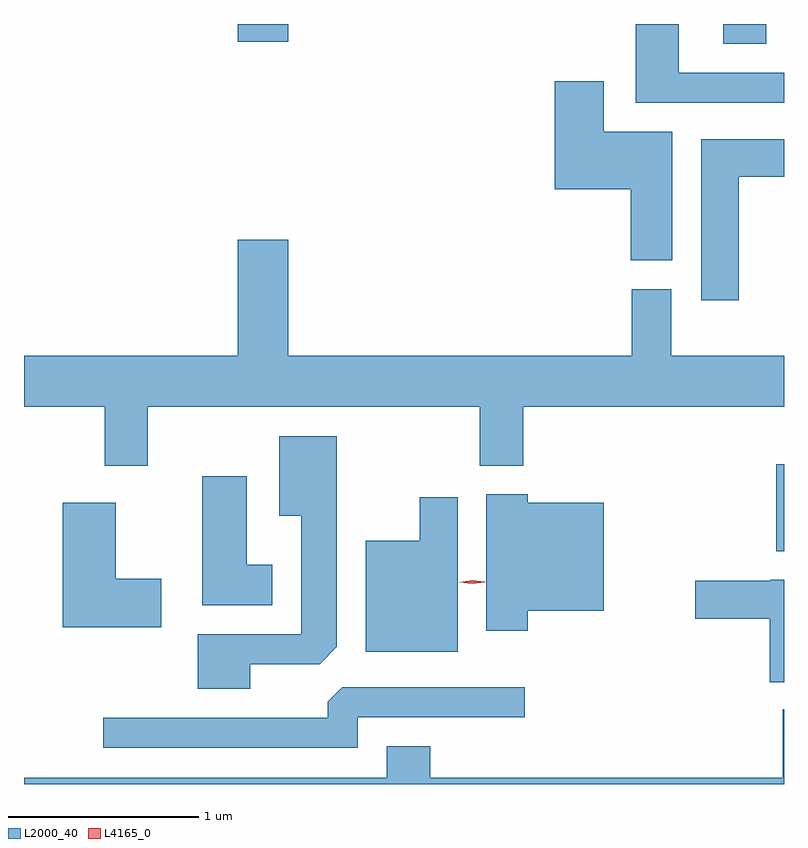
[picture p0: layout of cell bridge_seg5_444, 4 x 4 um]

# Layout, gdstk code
import gdstk
lib = gdstk.Library(unit=1e-6, precision=1e-09)
def R(c, l, rs):  # rectangles x0, y0, x1, y1
    for r in rs: c.add(gdstk.rectangle(r[:2], r[2:], *l))
def P(c, l, *ps):  # polygons
    for p in ps: c.add(gdstk.Polygon(p, *l))
L2000_40 = (2000, 40)
L4165_0 = (4165, 0)

bridge_seg5_444 = lib.new_cell('bridge_seg5_444')
R(bridge_seg5_444, L2000_40, [(517.611,1424.956,517.652,1425.414), (517.331,1427.626,517.559,1427.73), (514.776,1427.636,515.044,1427.73)])
P(bridge_seg5_444, L2000_40, [(517.652,1427.474),(517.099,1427.474),(517.099,1427.73),(516.871,1427.73),(516.871,1427.316),(517.652,1427.316)],
  [(517.064,1427.164),(516.704,1427.164),(516.704,1427.429),(516.446,1427.429),(516.446,1426.861),(516.846,1426.861),(516.846,1426.486),(517.064,1426.486)],
  [(517.414,1426.926),(517.652,1426.926),(517.652,1427.124),(517.216,1427.124),(517.216,1426.276),(517.414,1426.276)],
  [(516.051,1425.406),(516.279,1425.406),(516.279,1425.716),(517.652,1425.716),(517.652,1425.984),(517.059,1425.984),(517.059,1426.334),(516.851,1426.334),(516.851,1425.984),(515.044,1425.984),(515.044,1426.594),(514.776,1426.594),(514.776,1425.984),(513.652,1425.984),(513.652,1425.716),(514.076,1425.716),(514.076,1425.406),(514.304,1425.406),(514.304,1425.716),(516.051,1425.716)],
  [(514.844,1424.361),(515.208,1424.361),(515.299,1424.452),(515.299,1425.559),(514.996,1425.559),(514.996,1425.141),(515.111,1425.141),(515.111,1424.519),(514.566,1424.519),(514.566,1424.231),(514.844,1424.231)],
  [(514.959,1424.884),(514.824,1424.884),(514.824,1425.349),(514.591,1425.349),(514.591,1424.671),(514.959,1424.671)],
  [(516.304,1424.641),(516.704,1424.641),(516.704,1425.209),(516.304,1425.209),(516.304,1425.254),(516.086,1425.254),(516.086,1424.536),(516.304,1424.536)],
  [(515.934,1425.239),(515.736,1425.239),(515.736,1425.009),(515.451,1425.009),(515.451,1424.426),(515.934,1424.426)],
  [(514.374,1424.809),(514.134,1424.809),(514.134,1425.209),(513.856,1425.209),(513.856,1424.556),(514.374,1424.556)],
  [(517.652,1424.804),(517.58,1424.804),(517.58,1424.799),(517.186,1424.799),(517.186,1424.601),(517.576,1424.601),(517.576,1424.266),(517.652,1424.266)],
  [(515.409,1424.081),(516.288,1424.081),(516.288,1424.239),(515.327,1424.239),(515.251,1424.164),(515.251,1424.079),(514.068,1424.079),(514.068,1423.921),(515.409,1423.921)],
  [(517.652,1424.123),(517.646,1424.123),(517.646,1423.764),(515.789,1423.764),(515.789,1423.929),(515.561,1423.929),(515.561,1423.764),(513.652,1423.764),(513.652,1423.73),(517.652,1423.73)])
P(bridge_seg5_444, L4165_0, [(516.01,1424.783),(515.944,1424.791),(515.944,1424.792),(515.944,1424.792),(516.01,1424.803),(516.076,1424.794),(516.077,1424.794),(516.076,1424.793)])

lib.write_gds('bridge_seg5_444.gds')
